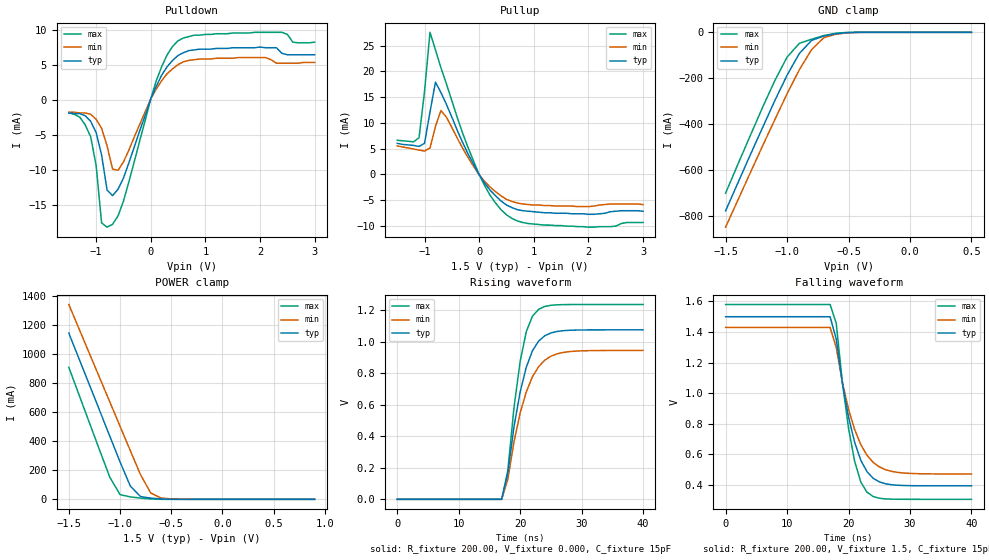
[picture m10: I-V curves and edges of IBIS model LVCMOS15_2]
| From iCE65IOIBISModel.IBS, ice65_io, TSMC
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|   Model LVCMOS15_2
[Model]   LVCMOS15_2
Model_type   I/O
Polarity   Non-Inverting
Enable   Active-High
Vinl =   0.35V
Vinh =   0.65V
Vmeas =   0.75V
Cref =  15.00pF
Rref =   1.00M
Vref =  0.000V
C_comp   1.30pF   1.17pF   1.43pF
[Temperature Range]   25.00   85   -40.00
[Voltage Range]   1.5V   1.43V   1.58V
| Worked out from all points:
|   slope of the pulldown table from 0 to 0.225 V, typ, clamps not added: 60.8 ohm
|   slope of the pullup table from 0 to 0.225 V, typ, clamps not added: 68.7 ohm
|   GND clamp passes 1 mA (typ) near -0.50 V on its own axis
|   POWER clamp passes 1 mA (typ) near -0.52 V on its own axis
|   rising waveform, R_fixture 200.00, V_fixture 0.000, C_fixture 15pF: 20-80 % time 3.04ns typ, 3.51ns min, 2.45ns max; typ from 0 V to 1.07 V
|   falling waveform, R_fixture 200.00, V_fixture 1.5, C_fixture 15pF: 20-80 % time 3.27ns typ, 3.74ns min, 2.63ns max; typ from 1.5 V to 0.393 V
[Pulldown]
| voltage I(typ) I(min) I(max)
-1.5V     -1.9mA     -1.8mA     -1.9mA
-1.3V     -2mA       -1.9mA     -2.5mA
-1.1V     -3.1mA     -2.1mA     -5.3mA
-1V       -4.7mA     -2.8mA     -9.4mA
-900mV    -7.9mA     -4.1mA     -17.6mA
-800mV    -12.9mA    -6.6mA     -18.2mA
-700mV    -13.7mA    -9.9mA     -17.8mA
-600mV    -12.8mA    -10.1mA    -16.6mA
100mV     1.9mA      1.5mA      2.7mA
500mV     6.3mA      5mA        8.4mA
2.4V      6.6mA      5.2mA      9.6mA
3V        6.4mA      5.3mA      8.2mA
[Pullup]
| voltage I(typ) I(min) I(max)
-1.5V     6mA        5.5mA      6.6mA
-1.1V     5.4mA      4.7mA      7.1mA
-1V       6mA        4.5mA      16.1mA
-900mV    12.1mA     5.1mA      27.6mA
-800mV    17.9mA     9.3mA      24.2mA
-700mV    15.9mA     12.4mA     20.7mA
-300mV    6.1mA      5mA        7.9mA
0V        -100uA     -100uA     -100uA
200mV     -3.1mA     -2.5mA     -4.1mA
500mV     -6mA       -4.9mA     -7.9mA
1.2V      -7.5mA     -6.1mA     -9.9mA
3V        -7.2mA     -5.9mA     -9.4mA
[GND_clamp]
| voltage I(typ) I(min) I(max)
-1.5V     -778mA     -849mA     -701mA
-1.2V     -416mA     -496mA     -328mA
-1.1V     -298mA     -381mA     -211mA
-1V       -187mA     -268mA     -108mA
-900mV    -92mA      -163mA     -48mA
-800mV    -35mA      -75mA      -30mA
-700mV    -16mA      -23mA      -14mA
-600mV    -6mA       -8mA       -4mA
-400mV    0A         0A         0A
500mV     0A         0A         0A
[POWER_clamp]
| voltage I(typ) I(min) I(max)
-1.5V     1.145A     1.342A     908.7mA
-1.1V     435.3mA    670.9mA    152.4mA
-1V       257.9mA    503.4mA    32.6mA
-900mV    91.8mA     335.8mA    16.7mA
-800mV    19.2mA     169.7mA    8.7mA
-700mV    8.2mA      43.1mA     2.7mA
-600mV    3mA        9mA        200uA
-500mV    400uA      2.9mA      0A
900mV     0A         0A         0A
[Ramp]
| variable   typ   min   max
dV/dt_r   0.645/3.018n   0.5667/3.494n   0.741528/2.39n
dV/dt_f   0.6642/3.894n   0.576/4.481n   0.76536/3.163n
R_load = 200
[Rising Waveform]
R_fixture = 200.00
V_fixture = 0.000
V_fixture_min = 0.000
V_fixture_max = 0.000
L_fixture = 0.000H
C_fixture = 15pF
| time   V(typ)   V(min)   V(max)
0s        0V         0V         0V
17ns      300uV      300uV      0V
18ns      166.8mV    127.4mV    183.9mV
19ns      460mV      365mV      582.2mV
20ns      680.4mV    546.8mV    874.7mV
21ns      838.5mV    681.7mV    1.063V
22ns      942mV      777.5mV    1.161V
24ns      1.037V     882.5mV    1.223V
26ns      1.065V     922.8mV    1.234V
40ns      1.075V     944.5mV    1.236V
[Falling Waveform]
R_fixture = 200.00
V_fixture = 1.5
V_fixture_min = 1.43
V_fixture_max = 1.58
L_fixture = 0.000H
C_fixture = 15pF
| time   V(typ)   V(min)   V(max)
0s        1.5V       1.43V      1.58V
17ns      1.5V       1.43V      1.58V
18ns      1.354V     1.298V     1.457V
19ns      1.066V     1.071V     1.069V
20ns      842.9mV    894.3mV    769.7mV
21ns      676.9mV    760.6mV    552.2mV
22ns      559.9mV    662.3mV    417.3mV
23ns      485.6mV    593.1mV    351.2mV
27ns      399.9mV    487.4mV    305.4mV
40ns      392.9mV    470.3mV    304.3mV
